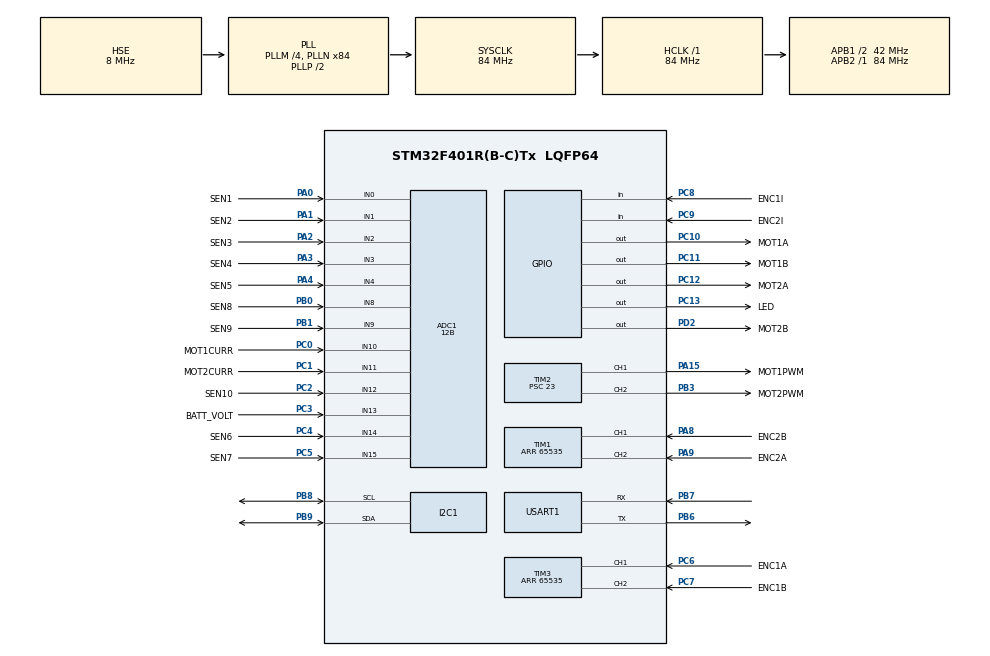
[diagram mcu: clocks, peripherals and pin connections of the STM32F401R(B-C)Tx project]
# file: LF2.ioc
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ADC1.Channel-0\#ChannelRegularConversion=ADC_CHANNEL_12
ADC1.Channel-1\#ChannelRegularConversion=ADC_CHANNEL_9
ADC1.Channel-16\#ChannelRegularConversion=ADC_CHANNEL_4
ADC1.Channel-17\#ChannelRegularConversion=ADC_CHANNEL_3
ADC1.Channel-2\#ChannelRegularConversion=ADC_CHANNEL_8
ADC1.Channel-21\#ChannelRegularConversion=ADC_CHANNEL_2
ADC1.Channel-22\#ChannelRegularConversion=ADC_CHANNEL_1
ADC1.Channel-23\#ChannelRegularConversion=ADC_CHANNEL_0
ADC1.Channel-27\#ChannelRegularConversion=ADC_CHANNEL_10
ADC1.Channel-28\#ChannelRegularConversion=ADC_CHANNEL_11
ADC1.Channel-29\#ChannelRegularConversion=ADC_CHANNEL_13
ADC1.Channel-3\#ChannelRegularConversion=ADC_CHANNEL_15
ADC1.Channel-4\#ChannelRegularConversion=ADC_CHANNEL_14
ADC1.ClockPrescaler=ADC_CLOCK_SYNC_PCLK_DIV6
ADC1.ContinuousConvMode=ENABLE
ADC1.DMAContinuousRequests=ENABLE
ADC1.DataAlign=ADC_DATAALIGN_RIGHT
ADC1.DiscontinuousConvMode=DISABLE
ADC1.EOCSelection=ADC_EOC_SEQ_CONV
ADC1.EnableAnalogWatchDog=false
ADC1.ExternalTrigConv=ADC_SOFTWARE_START
ADC1.ExternalTrigConvEdge=ADC_EXTERNALTRIGCONVEDGE_NONE
ADC1.InjNumberOfConversion=0
ADC1.NbrOfConversion=13
ADC1.NbrOfConversionFlag=1
ADC1.Rank-0\#ChannelRegularConversion=1
ADC1.Rank-1\#ChannelRegularConversion=2
ADC1.Rank-16\#ChannelRegularConversion=6
ADC1.Rank-17\#ChannelRegularConversion=7
ADC1.Rank-2\#ChannelRegularConversion=3
ADC1.Rank-21\#ChannelRegularConversion=8
ADC1.Rank-22\#ChannelRegularConversion=9
ADC1.Rank-23\#ChannelRegularConversion=10
ADC1.Rank-27\#ChannelRegularConversion=11
ADC1.Rank-28\#ChannelRegularConversion=12
ADC1.Rank-29\#ChannelRegularConversion=13
ADC1.Rank-3\#ChannelRegularConversion=4
ADC1.Rank-4\#ChannelRegularConversion=5
ADC1.Resolution=ADC_RESOLUTION_12B
ADC1.SamplingTime-0\#ChannelRegularConversion=ADC_SAMPLETIME_144CYCLES
ADC1.SamplingTime-1\#ChannelRegularConversion=ADC_SAMPLETIME_144CYCLES
ADC1.SamplingTime-16\#ChannelRegularConversion=ADC_SAMPLETIME_3CYCLES
ADC1.SamplingTime-17\#ChannelRegularConversion=ADC_SAMPLETIME_3CYCLES
ADC1.SamplingTime-2\#ChannelRegularConversion=ADC_SAMPLETIME_144CYCLES
ADC1.SamplingTime-21\#ChannelRegularConversion=ADC_SAMPLETIME_3CYCLES
ADC1.SamplingTime-22\#ChannelRegularConversion=ADC_SAMPLETIME_3CYCLES
ADC1.SamplingTime-23\#ChannelRegularConversion=ADC_SAMPLETIME_3CYCLES
ADC1.SamplingTime-27\#ChannelRegularConversion=ADC_SAMPLETIME_3CYCLES
ADC1.SamplingTime-28\#ChannelRegularConversion=ADC_SAMPLETIME_3CYCLES
ADC1.SamplingTime-29\#ChannelRegularConversion=ADC_SAMPLETIME_3CYCLES
ADC1.SamplingTime-3\#ChannelRegularConversion=ADC_SAMPLETIME_144CYCLES
ADC1.SamplingTime-4\#ChannelRegularConversion=ADC_SAMPLETIME_144CYCLES
ADC1.ScanConvMode=ENABLE
ADC1.master=1
Dma.ADC1.1.Direction=DMA_PERIPH_TO_MEMORY
Dma.ADC1.1.FIFOMode=DMA_FIFOMODE_DISABLE
Dma.ADC1.1.Instance=DMA2_Stream0
Dma.ADC1.1.MemDataAlignment=DMA_MDATAALIGN_HALFWORD
Dma.ADC1.1.MemInc=DMA_MINC_ENABLE
Dma.ADC1.1.Mode=DMA_CIRCULAR
Dma.ADC1.1.PeriphDataAlignment=DMA_PDATAALIGN_HALFWORD
Dma.ADC1.1.PeriphInc=DMA_PINC_DISABLE
Dma.ADC1.1.Priority=DMA_PRIORITY_LOW
Dma.Request0=USART1_RX
Dma.Request1=ADC1
Dma.USART1_RX.0.Direction=DMA_PERIPH_TO_MEMORY
Dma.USART1_RX.0.FIFOMode=DMA_FIFOMODE_DISABLE
Dma.USART1_RX.0.Instance=DMA2_Stream2
Dma.USART1_RX.0.MemDataAlignment=DMA_MDATAALIGN_BYTE
Dma.USART1_RX.0.MemInc=DMA_MINC_ENABLE
Dma.USART1_RX.0.Mode=DMA_CIRCULAR
Dma.USART1_RX.0.PeriphDataAlignment=DMA_PDATAALIGN_BYTE
Dma.USART1_RX.0.PeriphInc=DMA_PINC_DISABLE
Dma.USART1_RX.0.Priority=DMA_PRIORITY_LOW
Mcu.Family=STM32F4
Mcu.Name=STM32F401R(B-C)Tx
Mcu.Package=LQFP64
NVIC.DMA2_Stream0_IRQn=true\:0\:0\:false\:false\:true\:false
NVIC.DMA2_Stream2_IRQn=true\:0\:0\:false\:false\:true\:false
NVIC.PriorityGroup=NVIC_PRIORITYGROUP_4
NVIC.TIM1_BRK_TIM9_IRQn=true\:0\:0\:false\:false\:true\:true
NVIC.TIM1_CC_IRQn=true\:0\:0\:false\:false\:true\:true
NVIC.TIM1_TRG_COM_TIM11_IRQn=true\:0\:0\:false\:false\:true\:true
NVIC.TIM1_UP_TIM10_IRQn=true\:0\:0\:false\:false\:true\:true
NVIC.TIM3_IRQn=true\:0\:0\:false\:false\:true\:true
NVIC.USART1_IRQn=true\:1\:0\:true\:false\:true\:true
PA0-WKUP.GPIO_Label=SEN1
PA0-WKUP.Signal=ADCx_IN0
PA1.GPIO_Label=SEN2
PA1.Signal=ADCx_IN1
PA13.Mode=Serial_Wire
PA13.Signal=SYS_JTMS-SWDIO
PA14.Mode=Serial_Wire
PA14.Signal=SYS_JTCK-SWCLK
PA15.GPIO_Label=MOT1PWM
PA15.GPIO_ModeDefaultPP=GPIO_MODE_AF_PP
PA15.GPIO_PuPd=GPIO_NOPULL
PA15.GPIO_Speed=GPIO_SPEED_FREQ_LOW
PA15.Signal=S_TIM2_CH1_ETR
PA2.GPIO_Label=SEN3
PA2.Signal=ADCx_IN2
PA3.GPIO_Label=SEN4
PA3.Signal=ADCx_IN3
PA4.GPIO_Label=SEN5
PA4.Signal=ADCx_IN4
PA5.Signal=ADCx_IN5
PA8.GPIO_Label=ENC2B
PA8.GPIO_ModeDefaultPP=GPIO_MODE_AF_PP
PA8.GPIO_PuPd=GPIO_NOPULL
PA8.GPIO_Speed=GPIO_SPEED_FREQ_LOW
PA8.Signal=S_TIM1_CH1
PA9.GPIO_Label=ENC2A
PA9.GPIO_ModeDefaultPP=GPIO_MODE_AF_PP
PA9.GPIO_PuPd=GPIO_NOPULL
PA9.GPIO_Speed=GPIO_SPEED_FREQ_LOW
PA9.Signal=S_TIM1_CH2
PB0.GPIO_Label=SEN8
PB0.Signal=ADCx_IN8
PB1.GPIO_Label=SEN9
PB1.Signal=ADCx_IN9
PB3.GPIO_Label=MOT2PWM
PB3.GPIO_ModeDefaultPP=GPIO_MODE_AF_PP
PB3.GPIO_PuPd=GPIO_NOPULL
PB3.GPIO_Speed=GPIO_SPEED_FREQ_LOW
PB3.Signal=S_TIM2_CH2
PB6.GPIO_Mode=GPIO_MODE_AF_PP
PB6.GPIO_PuPd=GPIO_PULLUP
PB6.GPIO_Speed=GPIO_SPEED_FREQ_VERY_HIGH
PB6.Mode=Asynchronous
PB6.Signal=USART1_TX
PB7.GPIO_Mode=GPIO_MODE_AF_PP
PB7.GPIO_PuPd=GPIO_PULLUP
PB7.GPIO_Speed=GPIO_SPEED_FREQ_VERY_HIGH
PB7.Mode=Asynchronous
PB7.Signal=USART1_RX
PB8.Mode=I2C
PB8.Signal=I2C1_SCL
PB9.Mode=I2C
PB9.Signal=I2C1_SDA
PC0.GPIO_Label=MOT1CURR
PC0.Signal=ADCx_IN10
PC1.GPIO_Label=MOT2CURR
PC1.Signal=ADCx_IN11
PC10.GPIO_Label=MOT1A
PC10.GPIO_ModeDefaultOutputPP=GPIO_MODE_OUTPUT_PP
PC10.GPIO_PuPd=GPIO_NOPULL
PC10.GPIO_Speed=GPIO_SPEED_FREQ_LOW
PC10.PinState=GPIO_PIN_RESET
PC10.Signal=GPIO_Output
PC11.GPIO_Label=MOT1B
PC11.GPIO_ModeDefaultOutputPP=GPIO_MODE_OUTPUT_PP
PC11.GPIO_PuPd=GPIO_NOPULL
PC11.GPIO_Speed=GPIO_SPEED_FREQ_LOW
PC11.PinState=GPIO_PIN_RESET
PC11.Signal=GPIO_Output
PC12.GPIO_Label=MOT2A
PC12.GPIO_ModeDefaultOutputPP=GPIO_MODE_OUTPUT_PP
PC12.GPIO_PuPd=GPIO_NOPULL
PC12.GPIO_Speed=GPIO_SPEED_FREQ_LOW
PC12.PinState=GPIO_PIN_RESET
PC12.Signal=GPIO_Output
PC13-ANTI_TAMP.GPIO_Label=LED
PC13-ANTI_TAMP.GPIO_ModeDefaultOutputPP=GPIO_MODE_OUTPUT_PP
PC13-ANTI_TAMP.GPIO_PuPd=GPIO_NOPULL
PC13-ANTI_TAMP.GPIO_Speed=GPIO_SPEED_FREQ_LOW
PC13-ANTI_TAMP.PinState=GPIO_PIN_RESET
PC13-ANTI_TAMP.Signal=GPIO_Output
PC2.GPIO_Label=SEN10
PC2.Signal=ADCx_IN12
PC3.GPIO_Label=BATT_VOLT
PC3.Signal=ADCx_IN13
PC4.GPIO_Label=SEN6
PC4.Signal=ADCx_IN14
PC5.GPIO_Label=SEN7
PC5.GPIO_PuPd=GPIO_NOPULL
PC5.Signal=ADCx_IN15
PC6.GPIO_Label=ENC1A
PC6.GPIO_ModeDefaultPP=GPIO_MODE_AF_PP
PC6.GPIO_PuPd=GPIO_NOPULL
PC6.GPIO_Speed=GPIO_SPEED_FREQ_LOW
PC6.Signal=S_TIM3_CH1
PC7.GPIO_Label=ENC1B
PC7.GPIO_ModeDefaultPP=GPIO_MODE_AF_PP
PC7.GPIO_PuPd=GPIO_NOPULL
PC7.GPIO_Speed=GPIO_SPEED_FREQ_LOW
PC7.Signal=S_TIM3_CH2
PC8.GPIO_Label=ENC1I
PC8.GPIO_Mode=GPIO_MODE_INPUT
PC8.GPIO_PuPd=GPIO_PULLUP
PC8.Signal=GPIO_Input
PC9.GPIO_Label=ENC2I
PC9.GPIO_Mode=GPIO_MODE_INPUT
PC9.GPIO_PuPd=GPIO_PULLUP
PC9.Signal=GPIO_Input
PD2.GPIO_Label=MOT2B
PD2.GPIO_ModeDefaultOutputPP=GPIO_MODE_OUTPUT_PP
PD2.GPIO_PuPd=GPIO_NOPULL
PD2.GPIO_Speed=GPIO_SPEED_FREQ_LOW
PD2.PinState=GPIO_PIN_RESET
PD2.Signal=GPIO_Output
PH0\ -\ OSC_IN.Mode=HSE-External-Oscillator
PH0\ -\ OSC_IN.Signal=RCC_OSC_IN
PH1\ -\ OSC_OUT.Mode=HSE-External-Oscillator
PH1\ -\ OSC_OUT.Signal=RCC_OSC_OUT
ProjectManager.HeapSize=0x800
ProjectManager.StackSize=0x800
ProjectManager.TargetToolchain=EWARM
RCC.48MHZClocksFreq_Value=42000000
RCC.AHBFreq_Value=84000000
RCC.APB1CLKDivider=RCC_HCLK_DIV2
RCC.APB1Freq_Value=42000000
RCC.APB1TimFreq_Value=84000000
RCC.APB2Freq_Value=84000000
RCC.APB2TimFreq_Value=84000000
RCC.CortexFreq_Value=84000000
RCC.HCLKFreq_Value=84000000
RCC.HSE_VALUE=8000000
RCC.HSI_VALUE=16000000
RCC.LSE_VALUE=32768
RCC.PLLM=4
RCC.PLLN=84
RCC.PLLSourceVirtual=RCC_PLLSOURCE_HSE
RCC.SYSCLKFreq_VALUE=84000000
RCC.SYSCLKSource=RCC_SYSCLKSOURCE_PLLCLK
RCC.VCOOutputFreq_Value=168000000
SH.ADCx_IN0.0=ADC1_IN0,IN0
SH.ADCx_IN1.0=ADC1_IN1,IN1
SH.ADCx_IN10.0=ADC1_IN10,IN10
SH.ADCx_IN11.0=ADC1_IN11,IN11
SH.ADCx_IN12.0=ADC1_IN12,IN12
SH.ADCx_IN13.0=ADC1_IN13,IN13
SH.ADCx_IN14.0=ADC1_IN14,IN14
SH.ADCx_IN15.0=ADC1_IN15,IN15
SH.ADCx_IN2.0=ADC1_IN2,IN2
SH.ADCx_IN3.0=ADC1_IN3,IN3
SH.ADCx_IN4.0=ADC1_IN4,IN4
SH.ADCx_IN5.0=ADC1_IN5
SH.ADCx_IN8.0=ADC1_IN8,IN8
SH.ADCx_IN9.0=ADC1_IN9,IN9
SH.S_TIM1_CH1.0=TIM1_CH1,Encoder_Interface
SH.S_TIM1_CH2.0=TIM1_CH2,Encoder_Interface
SH.S_TIM2_CH1_ETR.0=TIM2_CH1,PWM Generation1 CH1
SH.S_TIM2_CH2.0=TIM2_CH2,PWM Generation2 CH2
SH.S_TIM3_CH1.0=TIM3_CH1,Encoder_Interface
SH.S_TIM3_CH2.0=TIM3_CH2,Encoder_Interface
TIM1.EncoderMode=TIM_ENCODERMODE_TI12
TIM1.IC1Filter=5
TIM1.IC2Filter=5
TIM1.Period=65535
TIM11.Period=167
TIM11.Prescaler=999
TIM2.Channel-PWM\ Generation1\ CH1=TIM_CHANNEL_1
TIM2.Channel-PWM\ Generation2\ CH2=TIM_CHANNEL_2
TIM2.Period=99
TIM2.Prescaler=23
TIM3.EncoderMode=TIM_ENCODERMODE_TI12
TIM3.IC1Filter=5
TIM3.IC1Polarity=TIM_ICPOLARITY_FALLING
TIM3.IC2Filter=5
TIM3.Period=65535
USART1.VirtualMode=VM_ASYNC
VP_TIM11_VS_ClockSourceINT.Mode=Enable_Timer
VP_TIM2_VS_ClockSourceINT.Mode=Internal
board=LF2

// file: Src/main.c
/**
  ******************************************************************************
  * File Name          : main.c
  * Description        : Main program body
  ******************************************************************************
  ** This notice applies to any and all portions of this file
  * that are not between comment pairs USER CODE BEGIN and
  * USER CODE END. Other portions of this file, whether
  * inserted by the user or by software development tools
  * are owned by their respective copyright owners.
  *
  * COPYRIGHT(c) 2018 STMicroelectronics
  *
  * Redistribution and use in source and binary forms, with or without modification,
  * are permitted provided that the following conditions are met:
  *   1. Redistributions of source code must retain the above copyright notice,
  *      this list of conditions and the following disclaimer.
  *   2. Redistributions in binary form must reproduce the above copyright notice,
  *      this list of conditions and the following disclaimer in the documentation
  *      and/or other materials provided with the distribution.
  *   3. Neither the name of STMicroelectronics nor the names of its contributors
  *      may be used to endorse or promote products derived from this software
  *      without specific prior written permission.
  *
  * THIS SOFTWARE IS PROVIDED BY THE COPYRIGHT HOLDERS AND CONTRIBUTORS "AS IS"
  * AND ANY EXPRESS OR IMPLIED WARRANTIES, INCLUDING, BUT NOT LIMITED TO, THE
  * IMPLIED WARRANTIES OF MERCHANTABILITY AND FITNESS FOR A PARTICULAR PURPOSE ARE
  * DISCLAIMED. IN NO EVENT SHALL THE COPYRIGHT HOLDER OR CONTRIBUTORS BE LIABLE
  * FOR ANY DIRECT, INDIRECT, INCIDENTAL, SPECIAL, EXEMPLARY, OR CONSEQUENTIAL
  * DAMAGES (INCLUDING, BUT NOT LIMITED TO, PROCUREMENT OF SUBSTITUTE GOODS OR
  * SERVICES; LOSS OF USE, DATA, OR PROFITS; OR BUSINESS INTERRUPTION) HOWEVER
  * CAUSED AND ON ANY THEORY OF LIABILITY, WHETHER IN CONTRACT, STRICT LIABILITY,
  * OR TORT (INCLUDING NEGLIGENCE OR OTHERWISE) ARISING IN ANY WAY OUT OF THE USE
  * OF THIS SOFTWARE, EVEN IF ADVISED OF THE POSSIBILITY OF SUCH DAMAGE.
  *
  ******************************************************************************
  */

#include "main.h"
#include "stm32f4xx_hal.h"
#include "adc.h"
#include "dma.h"
#include "i2c.h"
#include "tim.h"
#include "usart.h"
#include "gpio.h"

/* USER CODE BEGIN Includes */
#include "motors.h"
#include "PID.h"
#include "sensors.h"
#include "usart_tasks.h"
#include "eeprom_emulator.h"
#include "robot_misc.h"

#define ADC_MEASUREMENTS 13
/* USER CODE END Includes */

/* USER CODE BEGIN PV */
/* Private variables ---------------------------------------------------------*/

//PID variables
volatile float sensorsSetpoint = 0.0f, sensorsFeedback  = 0.0f, sensorsOutput = 0.0f;
float leftOutput = 0.0f, leftSet = 0.0f, rightOutput = 0.0f, rightSet = 0.0f;
float prevSensorsFeedback = 0.0f;
PID_Properties_t PID_Left, PID_Right, PID_Sensors;

//tests
int m1 = 0, m2 = 0;
float test = 10;

//ADC  Variables
uint16_t ADC_RAW[ADC_MEASUREMENTS];
uint8_t binarizedSensors[NUM_OF_SENSORS], sensorsScaledAndConstrained[NUM_OF_SENSORS];

//Encoder variables
float speedLeft = 0.0f, speedRight = 0.0f;

//UART related variables
extern uint8_t Received[11];
extern Queue_t queue_struct;
RobotParameters_t parameters;
requests_t req; //need to zero all requests
volatile uint8_t uartReady = 0, motorsEnabled = 0;

/* USER CODE END PV */

void SystemClock_Config(void);

/* USER CODE BEGIN PFP */
/* Private function prototypes -----------------------------------------------*/

void FillParametersFakeData();
void ZeroAllRequests();
void presetPID();

void HAL_TIM_PeriodElapsedCallback(TIM_HandleTypeDef *htim)
{
  if(htim->Instance == TIM11){ //2 ms loop
     // __disable_irq();
    calculateSpeed(&speedLeft, &speedRight);
    PID(&PID_Left, &test, &speedLeft, &leftOutput, (derivative_t)parameters.left.derivativeType, noReverse);
    PID(&PID_Right, &test, &speedRight, &rightOutput, (derivative_t)parameters.right.derivativeType, noReverse);
    PID(&PID_Left, &leftSet, &speedLeft, &leftOutput, (derivative_t)parameters.left.derivativeType, noReverse);
    PID(&PID_Right, &rightSet, &speedRight, &rightOutput, (derivative_t)parameters.right.derivativeType, noReverse);

    if(motorsEnabled)
    {
     Motor1DriveByPid((int)leftOutput); //motor1 - lewy
     Motor2DriveByPid((int)rightOutput);
    }
  }
}
/* USER CODE END PFP */

int main(void)
{

  /* USER CODE BEGIN 1 */
  q_init(&queue_struct, sizeof(QueueRecord_t), 25, FIFO, false);

  FillParametersFakeData(); //fake parameters struct

  ReadFromFlash(&parameters, sizeof(parameters), SECTOR5_FLASH_BEGINING);

  ZeroAllRequests(); //zero requests from parameters struct

  presetPID();

  /* USER CODE END 1 */

  /* MCU Configuration----------------------------------------------------------*/

  /* Reset of all peripherals, Initializes the Flash interface and the Systick. */
  HAL_Init();

  /* USER CODE BEGIN Init */
  uint64_t TickStart = 0, TickPrevious = 0, TickStartShort, TickPreviousShort = 0;

  /* USER CODE END Init */

  /* Configure the system clock */
  SystemClock_Config();

  /* Initialize all configured peripherals */
  MX_GPIO_Init();
  MX_DMA_Init();
  MX_ADC1_Init();
  MX_I2C1_Init();
  MX_TIM1_Init();
  MX_TIM2_Init();
  MX_TIM3_Init();
  MX_TIM11_Init();
  MX_USART1_UART_Init();

  /* USER CODE BEGIN 2 */
  Motor1StartPWM(); //17,5 kHz
  Motor2StartPWM(); //17,5 kHz
  Motor1DriveByPid(0);
  Motor2DriveByPid(0);
  HAL_TIM_Base_Start_IT(&htim11); //2ms IRQ
  HAL_TIM_Encoder_Start(&htim1, TIM_CHANNEL_ALL);
  HAL_TIM_Encoder_Start(&htim3, TIM_CHANNEL_ALL);
  HAL_ADC_Start_DMA(&hadc1, (uint32_t*)ADC_RAW, ADC_MEASUREMENTS); //25 us whole cycle
  HAL_UART_Receive_DMA(&huart1, Received, SIZEOF_RECEIVING_BUFFER);

  /* USER CODE END 2 */

  /* Infinite loop */
  /* USER CODE BEGIN WHILE */
  while (1)
  {
    /*calc PD */

    prevSensorsFeedback = 0.0f;

    sensorsFeedback = sensorsRawToBin(ADC_RAW, sensorsScaledAndConstrained, parameters.sensors.calibrationMaxValues, parameters.sensors.calibrationMinValues, binarizedSensors);
    //PD(&PID_Sensors, &sensorsSetpoint, &sensorsFeedback, &sensorsOutput, (derivative_t)parameters.sensors.derivativeType, noReverse);
    float PDout = (sensorsFeedback * PID_Sensors.kp) - ((sensorsFeedback - prevSensorsFeedback) * PID_Sensors.kd);
    if(PDout > 100.0f) PDout = 100.0f;
    if(PDout < -100.0f) PDout = -100.0f;

    leftSet = parameters.left.SpeedOffset + PDout;
    rightSet = parameters.right.SpeedOffset - PDout;

    if(leftSet < 0.0f) leftSet = 0.0f;
    if(rightSet < 0.0f) rightSet = 0.0f;
    leftSet = constrainSetSpeed(leftSet, parameters.left.MaxSpeed);
    rightSet = constrainSetSpeed(rightSet, parameters.right.MaxSpeed);

    prevSensorsFeedback = sensorsFeedback;

    /* end of PD moved from IRQ */

    TickStart = HAL_GetTick();
    TickStartShort = TickStart;

    if(req.request_calibration_begin)
    {
      RAW_ADC_calibrateEachSensor(ADC_RAW, parameters.sensors.calibrationMaxValues, parameters.sensors.calibrationMinValues);
      uart_write_calibration_result(CalibrationMaxValues, parameters.sensors.calibrationMaxValues);
      uartReady = 1;
      uart_write_calibration_result(CalibrationMinValues, parameters.sensors.calibrationMinValues);
    }

   if((TickStartShort - TickPreviousShort) > 8)
   {
    checkIfReady(); //enqueue msg and send it
    TickPreviousShort = TickStartShort;
   }

    if((TickStart - TickPrevious) > parameters.misc.uartUpdateRate)
    {
      HAL_GPIO_TogglePin(GPIOC, LED_Pin);

      if(req.request_sensor_update)
      {
        uint8_t tmp_adc[] = {ADC_RAW[0] >> 5, ADC_RAW[1] >> 5, ADC_RAW[2] >> 5, ADC_RAW[3] >> 5, ADC_RAW[4] >> 5, ADC_RAW[5] >> 5, ADC_RAW[6] >> 5, ADC_RAW[7] >> 5, ADC_RAW[8] >> 5, ADC_RAW[9] >> 5};
        uart_write_sensors_status(tmp_adc);
        uartReady = 1;
        uart_write_binarized_sensors(binarizedSensors);
        uart_write_calibrated_sensors(sensorsScaledAndConstrained);
        uart_write_voltage(ADC_RAW[12], (int16_t)(sensorsFeedback));
        //uart_write_feedback(0, 0, 0, (int8_t)speedLeft, (int8_t)PID_Left.integralSum , (int8_t)speedRight, (int8_t)PID_Right.integralSum, ADC_RAW[10] >> 5, ADC_RAW[11] >> 5);
      }
      TickPrevious = TickStart;
    }

    //requests
    if(req.request_all_parameters)
    {
      uart_write_parameters(&parameters);
      req.request_all_parameters = 0;
    }
    if( req.request_write_flash)
    {
      WriteToFlash(&parameters, sizeof(parameters), SECTOR5_FLASH_BEGINING, FLASH_SECTOR_5, FLASH_VOLTAGE_RANGE_3);
      req.request_write_flash = 0;
    }
    if(req.request_start_race == 1)
    {
      motorsEnabled = 1;
      req.request_start_race = 0;
      PID_Left.integralSum = 0.0f;
      PID_Right.integralSum = 0.0f;
    }else if(req.request_start_race == 255) //STOP
    {
      motorsEnabled = 0;
      Motor1DriveByPid(0);
      Motor2DriveByPid(0);
      req.request_start_race = 0;
    }
  /* USER CODE END WHILE */

  }

}

/** System Clock Configuration
*/
void SystemClock_Config(void)
{

  RCC_OscInitTypeDef RCC_OscInitStruct;
  RCC_ClkInitTypeDef RCC_ClkInitStruct;

    /**Configure the main internal regulator output voltage
    */
  __HAL_RCC_PWR_CLK_ENABLE();

  __HAL_PWR_VOLTAGESCALING_CONFIG(PWR_REGULATOR_VOLTAGE_SCALE2);

    /**Initializes the CPU, AHB and APB busses clocks
    */
  RCC_OscInitStruct.OscillatorType = RCC_OSCILLATORTYPE_HSE;
  RCC_OscInitStruct.HSEState = RCC_HSE_ON;
  RCC_OscInitStruct.PLL.PLLState = RCC_PLL_ON;
  RCC_OscInitStruct.PLL.PLLSource = RCC_PLLSOURCE_HSE;
  RCC_OscInitStruct.PLL.PLLM = 4;
  RCC_OscInitStruct.PLL.PLLN = 84;
  RCC_OscInitStruct.PLL.PLLP = RCC_PLLP_DIV2;
  RCC_OscInitStruct.PLL.PLLQ = 4;
  if (HAL_RCC_OscConfig(&RCC_OscInitStruct) != HAL_OK)
  {
    _Error_Handler(__FILE__, __LINE__);
  }

    /**Initializes the CPU, AHB and APB busses clocks
    */
  RCC_ClkInitStruct.ClockType = RCC_CLOCKTYPE_HCLK|RCC_CLOCKTYPE_SYSCLK
                              |RCC_CLOCKTYPE_PCLK1|RCC_CLOCKTYPE_PCLK2;
  RCC_ClkInitStruct.SYSCLKSource = RCC_SYSCLKSOURCE_PLLCLK;
  RCC_ClkInitStruct.AHBCLKDivider = RCC_SYSCLK_DIV1;
  RCC_ClkInitStruct.APB1CLKDivider = RCC_HCLK_DIV2;
  RCC_ClkInitStruct.APB2CLKDivider = RCC_HCLK_DIV1;

  if (HAL_RCC_ClockConfig(&RCC_ClkInitStruct, FLASH_LATENCY_2) != HAL_OK)
  {
    _Error_Handler(__FILE__, __LINE__);
  }

    /**Configure the Systick interrupt time
    */
  HAL_SYSTICK_Config(HAL_RCC_GetHCLKFreq()/1000);

    /**Configure the Systick
    */
  HAL_SYSTICK_CLKSourceConfig(SYSTICK_CLKSOURCE_HCLK);

  /* SysTick_IRQn interrupt configuration */
  HAL_NVIC_SetPriority(SysTick_IRQn, 0, 0);
}

/* USER CODE BEGIN 4 */

void FillParametersFakeData()
{
  parameters.sensors.kp = 1.00;
  parameters.sensors.kd = 2.00;
  parameters.sensors.derivativeType = feedbackDerivative;
  parameters.misc.uartUpdateRate = 75;

  parameters.left.kp = 0;
  parameters.left.ki = 0;
  parameters.left.kd = 3.30;
  parameters.left.derivativeType = feedbackDerivative;
  parameters.left.I_limit = 4.00;
  parameters.left.MaxSpeed = 5.00;
  parameters.left.MinSpeed = 6.00;
  parameters.left.SpeedOffset = 7.00;

  parameters.right.kp = 3.14;
  parameters.right.ki = 3.24;
  parameters.right.kd = 3.34;
  parameters.right.derivativeType = feedbackDerivative;
  parameters.right.I_limit = 4.14;
  parameters.right.MaxSpeed = 5.14;
  parameters.right.MinSpeed = 6.14;
  parameters.right.SpeedOffset = 7.14;
  parameters.misc.backToTrackForce = 1.0;
}

void ZeroAllRequests()
{
  req.request_all_parameters = 0;
  req.request_enable_feedback = 0;
  req.request_calibration_begin = 0;
  req.request_sensor_update = 0;
  req.request_start_race = 0;
  req.request_write_flash = 0;
  parameters.misc.uartUpdateRate = 100;

  for(int i = 0; i < NUM_OF_SENSORS; i++)
  {
    parameters.sensors.calibrationMaxValues[i] = 0;
    parameters.sensors.calibrationMinValues[i] = 255;
  }
}

void presetPID()
{
  parameters.left.MaxSpeed = parameters.left.I_limit;
  PID_Left.negIntegralLimit = -1.0*parameters.left.I_limit;
  PID_Left.posIntegralLimit = parameters.left.I_limit;
  PID_Left.negOutputLimit = -1.0*parameters.left.I_limit;
  PID_Left.posOutputLimit = parameters.left.I_limit;
  PID_Left.period = 1;
  PidSetParams(&PID_Left, parameters.left.kp, parameters.left.ki, parameters.left.kd);

  parameters.right.MaxSpeed = parameters.right.I_limit;
  PID_Right.negIntegralLimit = -1.0*parameters.right.I_limit;
  PID_Right.posIntegralLimit = parameters.right.I_limit;
  PID_Right.negOutputLimit = -1.0*parameters.right.I_limit;
  PID_Right.posOutputLimit = parameters.right.I_limit;
  PID_Right.period = 1;
  PidSetParams(&PID_Right, parameters.right.kp, parameters.right.ki, parameters.right.kd);

  PID_Sensors.negIntegralLimit = 0.0f;
  PID_Sensors.posIntegralLimit = 0.0f;
  PID_Sensors.negOutputLimit = -100.0f;
  PID_Sensors.posOutputLimit = 100;
  PID_Sensors.period = 1;
  PidSetParams(&PID_Sensors, parameters.sensors.kp, 0.0f, parameters.sensors.kd);
}

/* USER CODE END 4 */

void _Error_Handler(char * file, int line)
{
  while(1)
  {
  }
}

/************************ (C) COPYRIGHT STMicroelectronics *****END OF FILE****/
